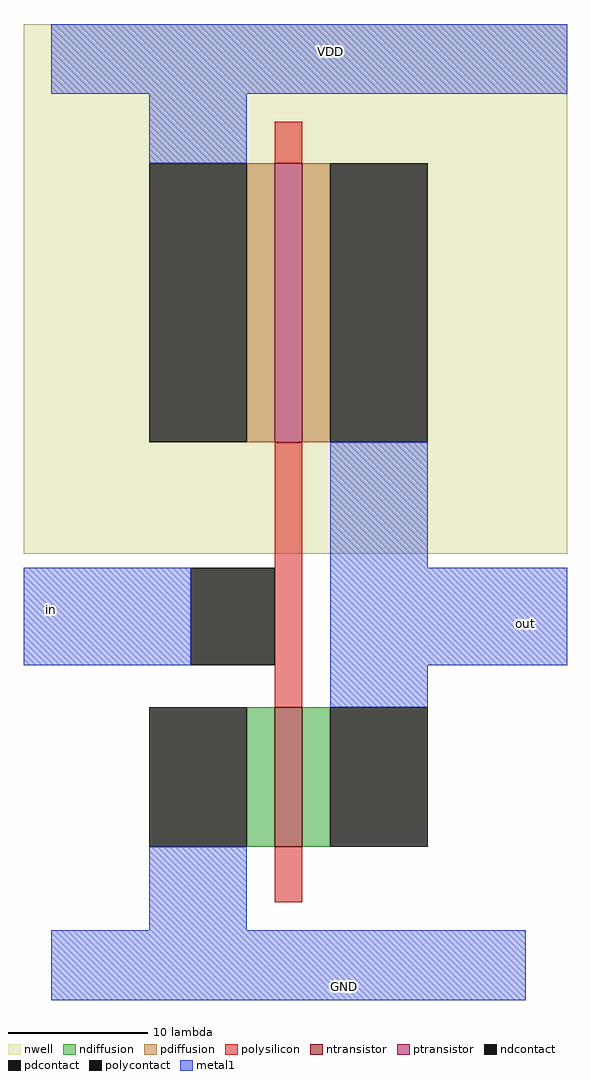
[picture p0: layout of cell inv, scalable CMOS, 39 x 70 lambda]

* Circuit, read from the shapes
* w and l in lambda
.subckt inv GND VDD in out
M1 out in GND VSUBS nfet w=10 l=2
M2 out in VDD n1 pfet w=20 l=2
.ends

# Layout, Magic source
magic
tech scmos
<< nwell >>
rect -7 -6 32 32
<< ntransistor >>
rect 11 -27 13 -17
<< ptransistor >>
rect 11 2 13 22
<< ndiffusion >>
rect 9 -27 11 -17
rect 13 -27 15 -17
<< pdiffusion >>
rect 9 2 11 22
rect 13 2 15 22
<< ndcontact >>
rect 2 -27 9 -17
rect 15 -27 22 -17
<< pdcontact >>
rect 2 2 9 22
rect 15 2 22 22
<< polysilicon >>
rect 11 22 13 25
rect 11 -17 13 2
rect 11 -31 13 -27
<< polycontact >>
rect 5 -14 11 -7
<< metal1 >>
rect -5 27 32 32
rect 2 22 9 27
rect 15 -7 22 2
rect -7 -14 5 -7
rect 15 -14 32 -7
rect 15 -17 22 -14
rect 2 -33 9 -27
rect -5 -38 29 -33
<< labels >>
rlabel metal1 -5 -10 -5 -10 3 in
rlabel metal1 29 -11 29 -11 7 out
rlabel metal1 15 30 15 30 5 VDD
rlabel metal1 16 -37 16 -37 1 GND
<< end >>
